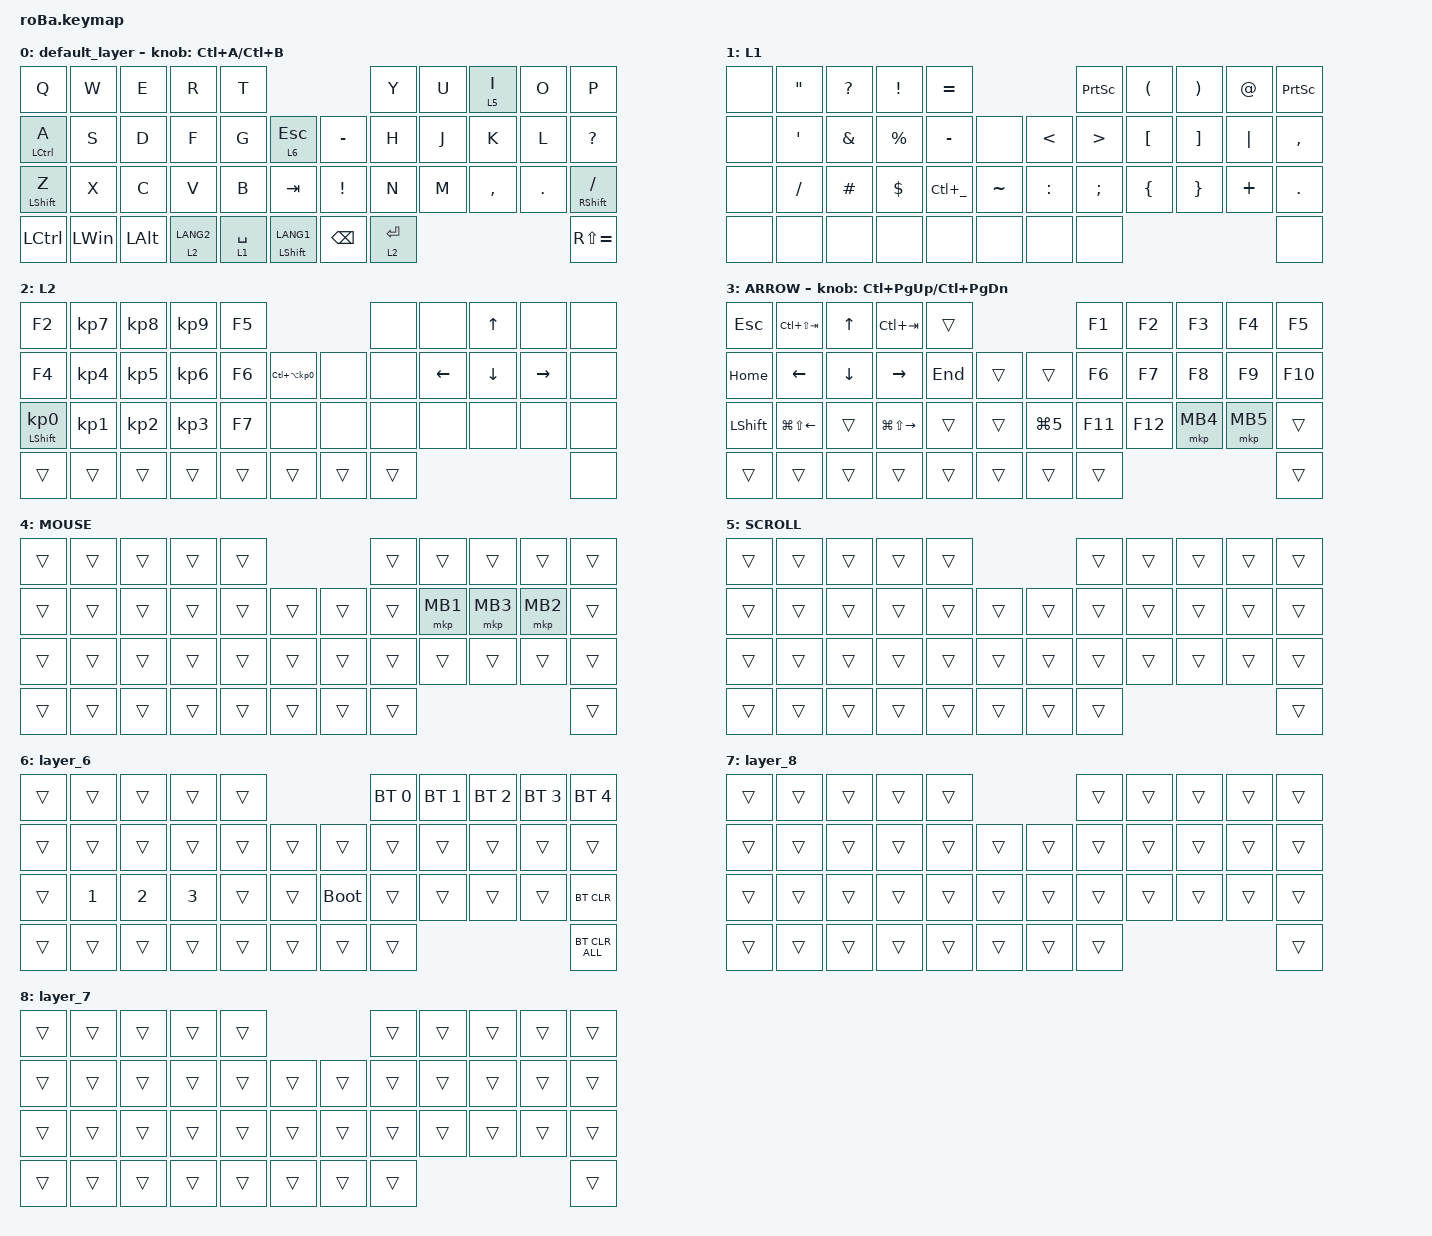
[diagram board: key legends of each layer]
#include <behaviors.dtsi>
#include <dt-bindings/zmk/bt.h>
#include <dt-bindings/zmk/keys.h>
#include <dt-bindings/zmk/pointing.h>

&mt {
    flavor = "balanced";
    quick-tap-ms = <0>;
};

&trackball {
    automouse-layer = <4>;
    scroll-layers = <5>;

    // arrows {
    //     layers = <3>;
    //     bindings =
    //         <&kp RIGHT_ARROW>,
    //         <&kp LEFT_ARROW>,
    //         <&kp UP_ARROW>,
    //         <&kp DOWN_ARROW>;
    //     tick = <10>;
    //     wait-ms = <5>;
    //     tap-ms = <5>;
    // };
};

/ {
    combos {
        compatible = "zmk,combos";

        tab {
            bindings = <&kp TAB>;
            key-positions = <11 12>;
        };

        shift_tab {
            bindings = <&kp LS(TAB)>;
            key-positions = <12 13>;
        };

        double_quotation {
            bindings = <&kp DOUBLE_QUOTES>;
            key-positions = <20 21>;
        };

        win {
            bindings = <&kp LEFT_GUI>;
            key-positions = <18 19>;
        };

        btmv {
            bindings = <&lt 6 ESC>;
            key-positions = <2 3>;
        };
    };

    macros {
        to_layer_0: to_layer_0 {
            compatible = "zmk,behavior-macro-one-param";
            #binding-cells = <1>;
            bindings = <&to 0 &macro_param_1to1 &kp MACRO_PLACEHOLDER>;
            label = "TO_LAYER_0";
        };

        modoru: new_macro {
            compatible = "zmk,behavior-macro";
            #binding-cells = <0>;
            bindings = <&kp LWIN &kp LEFT>;
            label = "NEW_MACRO";
        };

        macsc: macsc {
            compatible = "zmk,behavior-macro";
            #binding-cells = <0>;
            bindings = <&kp LS(LEFT_COMMAND) &kp NUMBER_3>;
            label = "macsc";
        };
    };

    behaviors {
        lt_to_layer_0: lt_to_layer_0 {
            compatible = "zmk,behavior-hold-tap";
            label = "LAYER_TAP_TO_0";
            bindings = <&mo>, <&to_layer_0>;

            #binding-cells = <2>;
            tapping-term-ms = <200>;
        };
    };

    keymap {
        compatible = "zmk,keymap";

        default_layer {
            bindings = <
&kp Q             &kp W         &kp E         &kp R        &kp T                                                   &kp Y        &kp U  &lt 5 I    &kp O    &kp P
&mt LCTRL A       &kp S         &kp D         &kp F        &kp G        &lt 6 ESC                 &kp MINUS        &kp H        &kp J  &kp K      &kp L    &kp QUESTION
&mt LEFT_SHIFT Z  &kp X         &kp C         &kp V        &kp B        &kp TAB                   &kp EXCLAMATION  &kp N        &kp M  &kp COMMA  &kp DOT  &mt RIGHT_SHIFT SLASH
&kp LCTRL         &kp LEFT_WIN  &kp LEFT_ALT  &lt 2 LANG2  &lt 1 SPACE  &mt LEFT_SHIFT LANG1      &kp BACKSPACE    &lt 2 ENTER                             &kp RS(EQUAL)
            >;

            sensor-bindings = <&inc_dec_kp LC(A) LC(B)>;
        };

        L1 {
            bindings = <
&none  &kp DOUBLE_QUOTES  &kp QUESTION   &kp EXCLAMATION  &kp EQUAL                                         &kp PSCRN         &kp LEFT_PARENTHESIS  &kp RIGHT_PARENTHESIS  &kp AT_SIGN  &kp PRINTSCREEN
&none  &kp SINGLE_QUOTE   &kp AMPERSAND  &kp PERCENT      &kp MINUS           &none          &kp LESS_THAN  &kp GREATER_THAN  &kp LEFT_BRACKET      &kp RIGHT_BRACKET      &kp PIPE     &kp COMMA
&none  &kp SLASH          &kp HASH       &kp DOLLAR       &kp LC(UNDERSCORE)  &kp TILDE      &kp COLON      &kp SEMICOLON     &kp LEFT_BRACE        &kp RIGHT_BRACE        &kp PLUS     &kp PERIOD
&none  &none              &none          &none            &none               &none          &none          &none                                                                       &none
            >;
        };

        L2 {
            bindings = <
&kp F2                      &kp KP_NUMBER_7  &kp KP_NUMBER_8  &kp KP_NUMBER_9  &kp F5                                       &none   &none           &kp UP_ARROW    &none            &none
&kp F4                      &kp KP_NUMBER_4  &kp KP_NUMBER_5  &kp KP_NUMBER_6  &kp F6  &kp LC(LA(KP_NUMBER_0))      &none   &none   &kp LEFT_ARROW  &kp DOWN_ARROW  &kp RIGHT_ARROW  &none
&mt LEFT_SHIFT KP_NUMBER_0  &kp KP_NUMBER_1  &kp KP_NUMBER_2  &kp KP_NUMBER_3  &kp F7  &none                        &none   &none   &none           &none           &none            &none
&trans                      &trans           &trans           &trans           &trans  &trans                       &trans  &trans                                                   &none
            >;
        };

        ARROW {
            bindings = <
&kp ESCAPE      &kp LC(LS(TAB))         &kp UP_ARROW    &kp LC(TAB)              &trans                                 &kp F1   &kp F2   &kp F3    &kp F4    &kp F5
&kp HOME        &kp LEFT_ARROW          &kp DOWN_ARROW  &kp RIGHT_ARROW          &kp END  &trans      &trans            &kp F6   &kp F7   &kp F8    &kp F9    &kp F10
&kp LEFT_SHIFT  &kp LG(LS(LEFT_ARROW))  &trans          &kp LG(LS(RIGHT_ARROW))  &trans   &trans      &kp LG(NUMBER_5)  &kp F11  &kp F12  &mkp MB4  &mkp MB5  &trans
&trans          &trans                  &trans          &trans                   &trans   &trans      &trans            &trans                                &trans
            >;

            sensor-bindings = <&inc_dec_kp LC(PAGE_UP) LC(PAGE_DOWN)>;
        };

        MOUSE {
            bindings = <
&trans  &trans  &trans  &trans  &trans                      &trans  &trans    &trans    &trans    &trans
&trans  &trans  &trans  &trans  &trans  &trans      &trans  &trans  &mkp MB1  &mkp MB3  &mkp MB2  &trans
&trans  &trans  &trans  &trans  &trans  &trans      &trans  &trans  &trans    &trans    &trans    &trans
&trans  &trans  &trans  &trans  &trans  &trans      &trans  &trans                                &trans
            >;
        };

        SCROLL {
            bindings = <
&trans  &trans  &trans  &trans  &trans                      &trans  &trans  &trans  &trans  &trans
&trans  &trans  &trans  &trans  &trans  &trans      &trans  &trans  &trans  &trans  &trans  &trans
&trans  &trans  &trans  &trans  &trans  &trans      &trans  &trans  &trans  &trans  &trans  &trans
&trans  &trans  &trans  &trans  &trans  &trans      &trans  &trans                          &trans
            >;
        };

        layer_6 {
            bindings = <
&trans  &trans        &trans        &trans        &trans                           &bt BT_SEL 0  &bt BT_SEL 1  &bt BT_SEL 2  &bt BT_SEL 3  &bt BT_SEL 4
&trans  &trans        &trans        &trans        &trans  &trans      &trans       &trans        &trans        &trans        &trans        &trans
&trans  &kp NUMBER_1  &kp NUMBER_2  &kp NUMBER_3  &trans  &trans      &bootloader  &trans        &trans        &trans        &trans        &bt BT_CLR
&trans  &trans        &trans        &trans        &trans  &trans      &trans       &trans                                                  &bt BT_CLR_ALL
            >;
        };

        layer_8 {
            bindings = <
&trans  &trans  &trans  &trans  &trans                      &trans  &trans  &trans  &trans  &trans
&trans  &trans  &trans  &trans  &trans  &trans      &trans  &trans  &trans  &trans  &trans  &trans
&trans  &trans  &trans  &trans  &trans  &trans      &trans  &trans  &trans  &trans  &trans  &trans
&trans  &trans  &trans  &trans  &trans  &trans      &trans  &trans                          &trans
            >;
        };

        layer_7 {
            bindings = <
&trans  &trans  &trans  &trans  &trans                      &trans  &trans  &trans  &trans  &trans
&trans  &trans  &trans  &trans  &trans  &trans      &trans  &trans  &trans  &trans  &trans  &trans
&trans  &trans  &trans  &trans  &trans  &trans      &trans  &trans  &trans  &trans  &trans  &trans
&trans  &trans  &trans  &trans  &trans  &trans      &trans  &trans                          &trans
            >;
        };
    };
};
